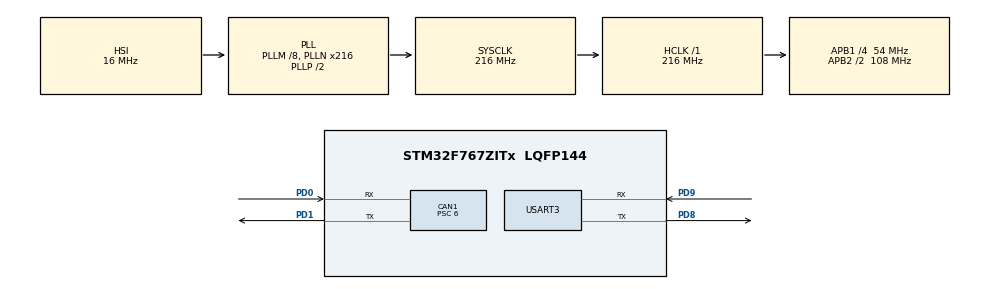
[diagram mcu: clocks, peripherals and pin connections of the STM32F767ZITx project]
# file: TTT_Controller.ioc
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CAN1.BS1=CAN_BS1_15TQ
CAN1.BS2=CAN_BS2_2TQ
CAN1.CalculateBaudRate=500000
CAN1.CalculateTimeBit=2000
CAN1.CalculateTimeQuantum=111.11111111111111
CAN1.NART=ENABLE
CAN1.Prescaler=6
CORTEX_M7.default_mode_Activation=1
Mcu.Family=STM32F7
Mcu.Name=STM32F767ZITx
Mcu.Package=LQFP144
NVIC.CAN1_RX0_IRQn=true\:0\:0\:false\:false\:true\:true\:true\:true
NVIC.PriorityGroup=NVIC_PRIORITYGROUP_4
NVIC.USART3_IRQn=true\:0\:0\:false\:false\:true\:true\:true\:true
PD0.Mode=CAN_Activate
PD0.Signal=CAN1_RX
PD1.Mode=CAN_Activate
PD1.Signal=CAN1_TX
PD8.Mode=Asynchronous
PD8.Signal=USART3_TX
PD9.Mode=Asynchronous
PD9.Signal=USART3_RX
ProjectManager.HeapSize=0x200
ProjectManager.StackSize=0x400
ProjectManager.TargetToolchain=STM32CubeIDE
RCC.AHBFreq_Value=216000000
RCC.APB1CLKDivider=RCC_HCLK_DIV4
RCC.APB1Freq_Value=54000000
RCC.APB1TimFreq_Value=108000000
RCC.APB2CLKDivider=RCC_HCLK_DIV2
RCC.APB2Freq_Value=108000000
RCC.APB2TimFreq_Value=216000000
RCC.CortexFreq_Value=216000000
RCC.HCLKFreq_Value=216000000
RCC.HSE_VALUE=25000000
RCC.HSI_VALUE=16000000
RCC.LSE_VALUE=32768
RCC.PLLM=8
RCC.PLLN=216
RCC.SYSCLKFreq_VALUE=216000000
RCC.SYSCLKSource=RCC_SYSCLKSOURCE_PLLCLK
RCC.USBFreq_Value=216000000
RCC.VCOOutputFreq_Value=432000000
USART3.VirtualMode-Asynchronous=VM_ASYNC
board=custom

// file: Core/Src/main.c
/* USER CODE BEGIN Header */
/**
  ******************************************************************************
  * @file           : main.c
  * @brief          : TTT 5-joint robotic arm controller
  *
  * Serial protocol (host PC → STM32, 115200 baud, newline-terminated):
  *
  *   J j1 j2 j3 j4 j5   Joystick axes, each -1.0 … +1.0   (send at ~50 Hz)
  *   G n kg              Set gravity feedforward gain on joint n (1-5)
  *   P n kp kv           Set PD gains on joint n
  *   H                   Home — zero all position estimates at current pose
  *   E                   Emergency stop
  *   R                   Print joint status
  *   ?                   Help
  *
  * The host PC should poll the Xbox controller and stream J commands at 50 Hz.
  * If no J command arrives within 250 ms the STM32 will brake all motors.
  ******************************************************************************
  */
/* USER CODE END Header */

#include "main.h"

/* USER CODE BEGIN Includes */
#include "vesc_can.h"
#include "arm_controller.h"
#include <stdio.h>
#include <string.h>
#include <stdlib.h>
/* USER CODE END Includes */

/* USER CODE BEGIN PD */
#define CMD_BUF_LEN      80    /* max incoming serial command length         */
#define JOY_WATCHDOG_MS  250   /* brake if no J command received in this ms  */
#define CTRL_PERIOD_MS   10    /* control loop period → 100 Hz               */
/* USER CODE END PD */

CAN_HandleTypeDef hcan1;

UART_HandleTypeDef huart3;

/* USER CODE BEGIN PV */
static uint8_t  uart_rx_byte;
static char     cmd_buf[CMD_BUF_LEN];
static uint8_t  cmd_idx   = 0;
static uint8_t  cmd_ready = 0;

/* Joystick axes, written by Process_Command() and read by the control loop */
static float    joy_axes[NUM_JOINTS] = {0};

static uint32_t last_joy_tick  = 0;   /* timestamp of last J command         */
static uint32_t last_ctrl_tick = 0;   /* timestamp of last control loop tick  */
static uint8_t  watchdog_active = 0;  /* 1 once brake has been sent; cleared when J resumes */
/* USER CODE END PV */

void SystemClock_Config(void);
static void MPU_Config(void);
static void MX_GPIO_Init(void);
static void MX_CAN1_Init(void);
static void MX_USART3_UART_Init(void);
/* USER CODE BEGIN PFP */
static void Process_Command(const char *cmd);
/* USER CODE END PFP */

/* USER CODE BEGIN 0 */

/* CAN RX interrupt → drain FIFO and update VESC status structs */
void HAL_CAN_RxFifo0MsgPendingCallback(CAN_HandleTypeDef *hcan)
{
    VESC_ProcessRx();
}

/* UART RX interrupt — accumulate bytes into cmd_buf, set cmd_ready on newline */
void HAL_UART_RxCpltCallback(UART_HandleTypeDef *huart)
{
    if (huart->Instance != USART3) return;

    char c = (char)uart_rx_byte;
    if (c == '\n' || c == '\r')
    {
        if (cmd_idx > 0)
        {
            cmd_buf[cmd_idx] = '\0';
            cmd_ready = 1;
            cmd_idx   = 0;
        }
    }
    else if (cmd_idx < CMD_BUF_LEN - 1)
    {
        cmd_buf[cmd_idx++] = c;
    }
    HAL_UART_Receive_IT(&huart3, &uart_rx_byte, 1);
}

/*
 * Process one null-terminated command string.
 *
 * J commands arrive at ~50 Hz and get no response (keep the channel clear).
 * All other commands are interactive and get a short ACK or data reply.
 */
static void Process_Command(const char *cmd)
{
    char resp[160];
    resp[0] = '\0';

    if (cmd[0] == 'J' || cmd[0] == 'j')
    {
        /* J j1 j2 j3 j4 j5 — joystick update from host PC
         * Values are floats in the range -1.0 … +1.0.
         * Example: "J 0.50 -0.25 0.00 0.75 -0.10"                         */
        char *p = (char *)cmd + 1;
        for (int i = 0; i < NUM_JOINTS; i++)
        {
            float v    = strtof(p, &p);
            joy_axes[i] = v < -1.0f ? -1.0f : (v > 1.0f ? 1.0f : v);
        }
        last_joy_tick = HAL_GetTick();
        return;  /* no response — this path runs at 50 Hz */
    }
    else if (cmd[0] == 'V' || cmd[0] == 'v')
    {
        /* V n v_max — set max output-shaft speed for joint n (1-based) [rev/s] */
        char *p    = (char *)cmd + 1;
        int   n    = (int)strtol(p, &p, 10) - 1;
        float vmax = strtof(p, &p);
        ArmController_SetVMax(n, vmax);
        snprintf(resp, sizeof(resp), "OK V J%d v_max=%.3f\r\n", n + 1, vmax);
    }
    else if (cmd[0] == 'G' || cmd[0] == 'g')
    {
        /* G n kg — set gravity feedforward gain for joint n (1-based) */
        char *p  = (char *)cmd + 1;
        int   n  = (int)strtol(p, &p, 10) - 1;
        float kg = strtof(p, &p);
        ArmController_SetGravityGain(n, kg);
        snprintf(resp, sizeof(resp), "OK G J%d kg=%.3f\r\n", n + 1, kg);
    }
    else if (cmd[0] == 'P' || cmd[0] == 'p')
    {
        /* P n kp kv — set PD gains for joint n (1-based) */
        char *p  = (char *)cmd + 1;
        int   n  = (int)strtol(p, &p, 10) - 1;
        float kp = strtof(p, &p);
        float kv = strtof(p, &p);
        ArmController_SetPDGains(n, kp, kv);
        snprintf(resp, sizeof(resp), "OK P J%d kp=%.2f kv=%.2f\r\n",
                 n + 1, kp, kv);
    }
    else if (cmd[0] == 'H' || cmd[0] == 'h')
    {
        /* H — home: zero all position estimates at the current physical pose */
        ArmController_Home();
        snprintf(resp, sizeof(resp), "OK HOME\r\n");
    }
    else if (cmd[0] == 'E' || cmd[0] == 'e')
    {
        /* E — emergency stop */
        ArmController_EStop();
        last_joy_tick = 0;   /* keep watchdog triggered until J resumes */
        snprintf(resp, sizeof(resp), "OK ESTOP\r\n");
    }
    else if (cmd[0] == 'R' || cmd[0] == 'r')
    {
        ArmController_PrintStatus(&huart3);
        return;
    }
    else if (cmd[0] == 'C' || cmd[0] == 'c')
    {
        /* C — CAN bus diagnostic: error counters + receive frame count */
        VESC_PrintDiag(&huart3);
        return;
    }
    else if (cmd[0] == '?')
    {
        const char *help =
            "J j1..j5        Joystick axes -1.0..+1.0  (50 Hz stream)\r\n"
            "G n kg          Gravity gain joint n (1-5)\r\n"
            "P n kp kv       PD gains joint n\r\n"
            "H               Home (zero position estimates)\r\n"
            "E               Emergency stop\r\n"
            "R               Print joint status\r\n";
        HAL_UART_Transmit(&huart3, (uint8_t *)help, strlen(help), 300);
        return;
    }
    else
    {
        snprintf(resp, sizeof(resp), "ERR unknown: %.40s\r\n", cmd);
    }

    if (resp[0] != '\0')
        HAL_UART_Transmit(&huart3, (uint8_t *)resp, strlen(resp), 100);
}

/* USER CODE END 0 */

int main(void)
{

  /* MPU Configuration--------------------------------------------------------*/
  MPU_Config();

  /* MCU Configuration--------------------------------------------------------*/

  /* Reset of all peripherals, Initializes the Flash interface and the Systick. */
  HAL_Init();

  /* Configure the system clock */
  SystemClock_Config();

  /* Initialize all configured peripherals */
  MX_GPIO_Init();
  MX_CAN1_Init();
  MX_USART3_UART_Init();
  /* USER CODE BEGIN 2 */

  VESC_Init(&hcan1);
  ArmController_Init();

  /* Safe start: brake all motors before enabling the control loop */
  VESC_BrakeAll();
  HAL_Delay(100);

  const char *welcome =
      "TTT Arm Controller ready\r\n"
      "Stream: J j1 j2 j3 j4 j5  at 50 Hz\r\n"
      "Type ? for help, R for status\r\n";
  HAL_UART_Transmit(&huart3, (uint8_t *)welcome, strlen(welcome), 300);

  HAL_UART_Receive_IT(&huart3, &uart_rx_byte, 1);

  /* Do NOT satisfy the watchdog here.  The arm stays braked until the PC
   * sends its first J command.  This prevents the control loop from
   * outputting gravity-comp current before the operator is ready.         */
  last_joy_tick  = 0;
  last_ctrl_tick = HAL_GetTick();

  /* USER CODE END 2 */

  /* Infinite loop */
  while (1)
  {

    /* USER CODE BEGIN 3 */

    uint32_t now = HAL_GetTick();

    /* --- CAN bus-off recovery -------------------------------------------
     * If the CAN peripheral goes bus-off (e.g. a node disconnects while
     * we are transmitting), restart it so it recovers automatically.     */
    if (hcan1.Instance->ESR & CAN_ESR_BOFF)
    {
        HAL_CAN_Stop(&hcan1);
        HAL_CAN_Start(&hcan1);
        HAL_CAN_ActivateNotification(&hcan1, CAN_IT_RX_FIFO0_MSG_PENDING);
    }

    /* --- Drain CAN RX FIFO (belt-and-suspenders alongside the ISR).
     * If frames arrive between ISR triggers, or if the interrupt is not
     * firing due to a hardware issue, this ensures they are processed
     * at least once per main-loop iteration (~10 ms worst case).        */
    VESC_ProcessRx();

    /* --- Process any buffered UART command (runs as fast as the loop) --- */
    if (cmd_ready)
    {
        cmd_ready = 0;
        Process_Command(cmd_buf);
    }

    /* --- 100 Hz control loop -------------------------------------------- */
    if (now - last_ctrl_tick >= CTRL_PERIOD_MS)
    {
        float dt       = (float)(now - last_ctrl_tick) * 0.001f;
        last_ctrl_tick = now;

        if (now - last_joy_tick > JOY_WATCHDOG_MS)
        {
            /* Host PC comms lost.  Send brake once when watchdog first fires,
             * then hold — do NOT call VESC_BrakeAll() every tick or the CAN
             * bus will be flooded with 500 frames/sec and go bus-off.       */
            if (!watchdog_active)
            {
                watchdog_active = 1;
                ArmController_EStop();   /* calls VESC_BrakeAll() once */
                for (int i = 0; i < NUM_JOINTS; i++) joy_axes[i] = 0.0f;
            }
        }
        else
        {
            watchdog_active = 0;
            ArmController_Update(joy_axes, dt);
        }
    }

  /* USER CODE END 3 */
  }
}

void SystemClock_Config(void)
{
  RCC_OscInitTypeDef RCC_OscInitStruct = {0};
  RCC_ClkInitTypeDef RCC_ClkInitStruct = {0};

  /** Configure the main internal regulator output voltage
  */
  __HAL_RCC_PWR_CLK_ENABLE();
  __HAL_PWR_VOLTAGESCALING_CONFIG(PWR_REGULATOR_VOLTAGE_SCALE1);

  /** Initializes the RCC Oscillators according to the specified parameters
  * in the RCC_OscInitTypeDef structure.
  */
  RCC_OscInitStruct.OscillatorType = RCC_OSCILLATORTYPE_HSI;
  RCC_OscInitStruct.HSIState = RCC_HSI_ON;
  RCC_OscInitStruct.HSICalibrationValue = RCC_HSICALIBRATION_DEFAULT;
  RCC_OscInitStruct.PLL.PLLState = RCC_PLL_ON;
  RCC_OscInitStruct.PLL.PLLSource = RCC_PLLSOURCE_HSI;
  RCC_OscInitStruct.PLL.PLLM = 8;
  RCC_OscInitStruct.PLL.PLLN = 216;
  RCC_OscInitStruct.PLL.PLLP = RCC_PLLP_DIV2;
  RCC_OscInitStruct.PLL.PLLQ = 2;
  RCC_OscInitStruct.PLL.PLLR = 2;
  if (HAL_RCC_OscConfig(&RCC_OscInitStruct) != HAL_OK)
  {
    Error_Handler();
  }

  /** Activate the Over-Drive mode
  */
  if (HAL_PWREx_EnableOverDrive() != HAL_OK)
  {
    Error_Handler();
  }

  /** Initializes the CPU, AHB and APB buses clocks
  */
  RCC_ClkInitStruct.ClockType = RCC_CLOCKTYPE_HCLK|RCC_CLOCKTYPE_SYSCLK
                              |RCC_CLOCKTYPE_PCLK1|RCC_CLOCKTYPE_PCLK2;
  RCC_ClkInitStruct.SYSCLKSource = RCC_SYSCLKSOURCE_PLLCLK;
  RCC_ClkInitStruct.AHBCLKDivider = RCC_SYSCLK_DIV1;
  RCC_ClkInitStruct.APB1CLKDivider = RCC_HCLK_DIV4;
  RCC_ClkInitStruct.APB2CLKDivider = RCC_HCLK_DIV2;

  if (HAL_RCC_ClockConfig(&RCC_ClkInitStruct, FLASH_LATENCY_7) != HAL_OK)
  {
    Error_Handler();
  }
}

static void MX_CAN1_Init(void)
{

  hcan1.Instance = CAN1;
  hcan1.Init.Prescaler = 6;
  hcan1.Init.Mode = CAN_MODE_NORMAL;
  hcan1.Init.SyncJumpWidth = CAN_SJW_1TQ;
  hcan1.Init.TimeSeg1 = CAN_BS1_15TQ;
  hcan1.Init.TimeSeg2 = CAN_BS2_2TQ;
  hcan1.Init.TimeTriggeredMode = DISABLE;
  hcan1.Init.AutoBusOff = DISABLE;
  hcan1.Init.AutoWakeUp = DISABLE;
  hcan1.Init.AutoRetransmission = ENABLE;
  hcan1.Init.ReceiveFifoLocked = DISABLE;
  hcan1.Init.TransmitFifoPriority = DISABLE;
  if (HAL_CAN_Init(&hcan1) != HAL_OK)
  {
    Error_Handler();
  }

}

static void MX_USART3_UART_Init(void)
{

  huart3.Instance = USART3;
  huart3.Init.BaudRate = 115200;
  huart3.Init.WordLength = UART_WORDLENGTH_8B;
  huart3.Init.StopBits = UART_STOPBITS_1;
  huart3.Init.Parity = UART_PARITY_NONE;
  huart3.Init.Mode = UART_MODE_TX_RX;
  huart3.Init.HwFlowCtl = UART_HWCONTROL_NONE;
  huart3.Init.OverSampling = UART_OVERSAMPLING_16;
  huart3.Init.OneBitSampling = UART_ONE_BIT_SAMPLE_DISABLE;
  huart3.AdvancedInit.AdvFeatureInit = UART_ADVFEATURE_NO_INIT;
  if (HAL_UART_Init(&huart3) != HAL_OK)
  {
    Error_Handler();
  }

}

static void MX_GPIO_Init(void)
{

  /* GPIO Ports Clock Enable */
  __HAL_RCC_GPIOD_CLK_ENABLE();

}

 /* MPU Configuration */

void MPU_Config(void)
{
  MPU_Region_InitTypeDef MPU_InitStruct = {0};

  /* Disables the MPU */
  HAL_MPU_Disable();

  /** Initializes and configures the Region and the memory to be protected
  */
  MPU_InitStruct.Enable = MPU_REGION_ENABLE;
  MPU_InitStruct.Number = MPU_REGION_NUMBER0;
  MPU_InitStruct.BaseAddress = 0x0;
  MPU_InitStruct.Size = MPU_REGION_SIZE_4GB;
  MPU_InitStruct.SubRegionDisable = 0x87;
  MPU_InitStruct.TypeExtField = MPU_TEX_LEVEL0;
  MPU_InitStruct.AccessPermission = MPU_REGION_NO_ACCESS;
  MPU_InitStruct.DisableExec = MPU_INSTRUCTION_ACCESS_DISABLE;
  MPU_InitStruct.IsShareable = MPU_ACCESS_SHAREABLE;
  MPU_InitStruct.IsCacheable = MPU_ACCESS_NOT_CACHEABLE;
  MPU_InitStruct.IsBufferable = MPU_ACCESS_NOT_BUFFERABLE;

  HAL_MPU_ConfigRegion(&MPU_InitStruct);
  /* Enables the MPU */
  HAL_MPU_Enable(MPU_PRIVILEGED_DEFAULT);

}

void Error_Handler(void)
{
  __disable_irq();
  while (1)
  {
  }
}
